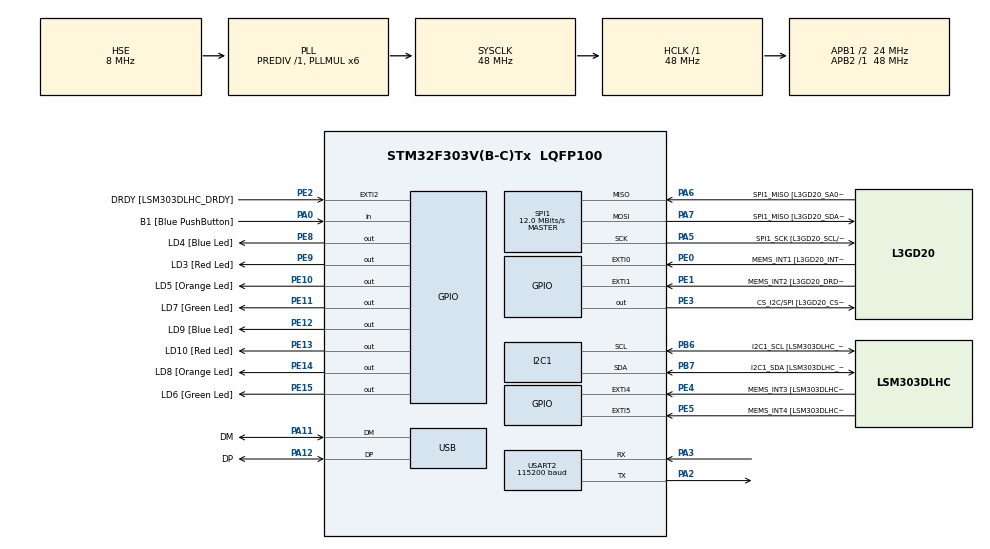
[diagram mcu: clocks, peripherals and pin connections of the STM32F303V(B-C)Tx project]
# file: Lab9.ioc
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I2C1.Timing=0x00201D2B
I2C1.Timing-I2C=0x2000090E
Mcu.Family=STM32F3
Mcu.Name=STM32F303V(B-C)Tx
Mcu.Package=LQFP100
NVIC.PriorityGroup=NVIC_PRIORITYGROUP_0
PA0.GPIO_Label=B1 [Blue PushButton]
PA0.Signal=GPIO_Input
PA11.GPIO_Label=DM
PA11.Mode=Device
PA11.Signal=USB_DM
PA12.GPIO_Label=DP
PA12.Mode=Device
PA12.Signal=USB_DP
PA13.GPIO_Label=SWDIO
PA13.Mode=Serial_Wire
PA13.Signal=SYS_JTMS-SWDIO
PA14.GPIO_Label=SWCLK
PA14.Mode=Serial_Wire
PA14.Signal=SYS_JTCK-SWCLK
PA2.Mode=Asynchronous
PA2.Signal=USART2_TX
PA3.Mode=Asynchronous
PA3.Signal=USART2_RX
PA5.GPIO_Label=SPI1_SCK [L3GD20_SCL/SPC]
PA5.Mode=Full_Duplex_Master
PA5.Signal=SPI1_SCK
PA6.GPIO_Label=SPI1_MISO [L3GD20_SA0/SDO]
PA6.Mode=Full_Duplex_Master
PA6.Signal=SPI1_MISO
PA7.GPIO_Label=SPI1_MISO [L3GD20_SDA/SDI/SDO]
PA7.Mode=Full_Duplex_Master
PA7.Signal=SPI1_MOSI
PB3.GPIO_Label=SWO
PB3.Signal=SYS_JTDO-TRACESWO
PB6.GPIO_Label=I2C1_SCL [LSM303DLHC_SCL]
PB6.GPIO_Pu=GPIO_PULLUP
PB6.Mode=I2C
PB6.Signal=I2C1_SCL
PB7.GPIO_Label=I2C1_SDA [LSM303DLHC_SDA]
PB7.GPIO_Pu=GPIO_PULLUP
PB7.Mode=I2C
PB7.Signal=I2C1_SDA
PC14-OSC32_IN.GPIO_Label=OSC32_IN
PC14-OSC32_IN.Signal=RCC_OSC32_IN
PC15-OSC32_OUT.GPIO_Label=OSC32_OUT
PC15-OSC32_OUT.Signal=RCC_OSC32_OUT
PE0.GPIO_Label=MEMS_INT1 [L3GD20_INT1]
PE0.GPIO_ModeDefaultEXTI=GPIO_MODE_EVT_RISING
PE0.Signal=GPXTI0
PE1.GPIO_Label=MEMS_INT2 [L3GD20_DRDY/INT2]
PE1.GPIO_ModeDefaultEXTI=GPIO_MODE_EVT_RISING
PE1.Signal=GPXTI1
PE10.GPIO_Label=LD5 [Orange Led]
PE10.Signal=GPIO_Output
PE11.GPIO_Label=LD7 [Green Led]
PE11.Signal=GPIO_Output
PE12.GPIO_Label=LD9 [Blue Led]
PE12.Signal=GPIO_Output
PE13.GPIO_Label=LD10 [Red Led]
PE13.Signal=GPIO_Output
PE14.GPIO_Label=LD8 [Orange Led]
PE14.Signal=GPIO_Output
PE15.GPIO_Label=LD6 [Green Led]
PE15.Signal=GPIO_Output
PE2.GPIO_Label=DRDY [LSM303DLHC_DRDY]
PE2.GPIO_ModeDefaultEXTI=GPIO_MODE_EVT_RISING
PE2.Signal=GPXTI2
PE3.GPIO_Label=CS_I2C/SPI [L3GD20_CS_I2C/SPI]
PE3.Signal=GPIO_Output
PE4.GPIO_Label=MEMS_INT3 [LSM303DLHC_INT1]
PE4.GPIO_ModeDefaultEXTI=GPIO_MODE_EVT_RISING
PE4.Signal=GPXTI4
PE5.GPIO_Label=MEMS_INT4 [LSM303DLHC_INT2]
PE5.GPIO_ModeDefaultEXTI=GPIO_MODE_EVT_RISING
PE5.Signal=GPXTI5
PE8.GPIO_Label=LD4 [Blue Led]
PE8.Signal=GPIO_Output
PE9.GPIO_Label=LD3 [Red Led]
PE9.Signal=GPIO_Output
PF0-OSC_IN.GPIO_Label=OSC_IN
PF0-OSC_IN.Mode=HSE-External-Clock-Source
PF0-OSC_IN.Signal=RCC_OSC_IN
PF1-OSC_OUT.GPIO_Label=OSC_OUT
PF1-OSC_OUT.Signal=RCC_OSC_OUT
ProjectManager.HeapSize=0x200
ProjectManager.StackSize=0x400
ProjectManager.TargetToolchain=CMake
RCC.AHBFreq_Value=48000000
RCC.APB1CLKDivider=RCC_HCLK_DIV2
RCC.APB1Freq_Value=24000000
RCC.APB1TimFreq_Value=48000000
RCC.APB2Freq_Value=48000000
RCC.APB2TimFreq_Value=48000000
RCC.CortexFreq_Value=48000000
RCC.HCLKFreq_Value=48000000
RCC.HSE_VALUE=8000000
RCC.HSI_VALUE=8000000
RCC.LSE_VALUE=32768
RCC.PLLMUL=RCC_PLL_MUL6
RCC.SYSCLKFreq_VALUE=48000000
RCC.SYSCLKSourceVirtual=RCC_SYSCLKSOURCE_PLLCLK
RCC.USBFreq_Value=48000000
SPI1.BaudRatePrescaler=SPI_BAUDRATEPRESCALER_4
SPI1.BaudRatePrescaler-Full_Duplex_Master=SPI_BAUDRATEPRESCALER_2
SPI1.CalculateBaudRate=12.0 MBits/s
SPI1.CalculateBaudRate-Full_Duplex_Master=24.0 MBits/s
SPI1.Direction=SPI_DIRECTION_2LINES
SPI1.Mode=SPI_MODE_MASTER
SPI1.Mode-Full_Duplex_Master=SPI_MODE_MASTER
SPI1.VirtualType=VM_MASTER
USART2.BaudRate=115200
USART2.VirtualMode-Asynchronous=VM_ASYNC
board=STM32F3DISCOVERY

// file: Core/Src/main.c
/* USER CODE BEGIN Header */
/**
  ******************************************************************************
  * @file           : main.c
  * @brief          : Main program body
  ******************************************************************************
  * @attention
  *
  * Copyright (c) 2026 STMicroelectronics.
  * All rights reserved.
  *
  * This software is licensed under terms that can be found in the LICENSE file
  * in the root directory of this software component.
  * If no LICENSE file comes with this software, it is provided AS-IS.
  *
  ******************************************************************************
  */
/* USER CODE END Header */
#include "main.h"
#include <string.h>
#include <stdio.h>
#include <stdarg.h>
#include <math.h>

I2C_HandleTypeDef hi2c1;

SPI_HandleTypeDef hspi1;

UART_HandleTypeDef huart2;

PCD_HandleTypeDef hpcd_USB_FS;

/* USER CODE BEGIN PV */
//TASK1--------------------------------------------------------------------------------------------
// #define LSM_READ_ADDR      0x33   // 8-bit read address
// #define WHO_AM_I_REG       0x0F   // WHO_AM_I register
// #define EXPECTED_ID        0x33   // Expected response

//TASK2------------------------------------------------------------------------------------------

/* --- SPI Gyroscope (L3GD20) --- */
#define GYRO_READ_BIT     0x80
#define CTRL_REG1         0x20
#define CTRL_REG1_VAL     0b00001111
#define CTRL_REG4         0x23
#define CTRL_REG4_VAL     0x00          // 245 dps, most sensitive
#define GYRO_SENS         0.00875f      // °/s per LSB at 245dps
#define OUT_X_L           0x28
#define OUT_X_H           0x29
#define OUT_Y_L           0x2A
#define OUT_Y_H           0x2B
#define OUT_Z_L           0x2C
#define OUT_Z_H           0x2D

#define CS_LOW()   HAL_GPIO_WritePin(GPIOE, GPIO_PIN_3, GPIO_PIN_RESET)
#define CS_HIGH()  HAL_GPIO_WritePin(GPIOE, GPIO_PIN_3, GPIO_PIN_SET)

/* --- I2C Accelerometer (LSM303AGR) --- */
#define LSM_WRITE_ADDR    0x32
#define LSM_READ_ADDR     0x33
#define CTRL_REG1_A       0x20
#define CTRL_REG4_A       0x23
#define OUT_X_L_A         0x28
#define OUT_X_H_A         0x29
#define OUT_Y_L_A         0x2A
#define OUT_Y_H_A         0x2B
#define OUT_Z_L_A         0x2C
#define OUT_Z_H_A         0x2D
#define ACCEL_SCALE       3.9f
#define RAD_TO_DEG        57.2958f

/* --- Drift Analysis --- */
#define DRIFT_SAMPLES     100           // samples to measure drift over

typedef struct {
    // Raw gyro
    int16_t gx_raw, gy_raw, gz_raw;
    // Gyro in dps
    float   gx_dps, gy_dps, gz_dps;
    // Gyro offsets
    int16_t gyro_offset_x, gyro_offset_y, gyro_offset_z;

    // Raw accel
    int16_t ax_raw, ay_raw, az_raw;
    // Accel in G
    float   ax_g, ay_g, az_g;
    // Accel offsets
    float   acc_offset_x, acc_offset_y, acc_offset_z;

    // Angles
    float pitch, roll;

    // Drift metrics
    float gyro_drift_pct;
    float accel_drift_pct;
} SensorData;

SensorData sensor;

/* USER CODE END PV */

void SystemClock_Config(void);
static void MX_GPIO_Init(void);
static void MX_I2C1_Init(void);
static void MX_SPI1_Init(void);
static void MX_USART2_UART_Init(void);
static void MX_USB_PCD_Init(void);

/* USER CODE BEGIN 0 */
//TASK1----------------------------------------------------------------------------------
// void myPrintf(const char *fmt, ...)
// {
//     char buffer[256];
//     va_list args;
//     va_start(args, fmt);
//     vsnprintf(buffer, sizeof(buffer), fmt, args);
//     va_end(args);
//     HAL_UART_Transmit(&huart2, (uint8_t*)buffer, strlen(buffer), HAL_MAX_DELAY);
// }

//TASK2-----------------------------------------------------------------------------------

void myPrintf(const char *fmt, ...)
{
    char buffer[256];
    va_list args;
    va_start(args, fmt);
    vsnprintf(buffer, sizeof(buffer), fmt, args);
    va_end(args);
    HAL_UART_Transmit(&huart2, (uint8_t*)buffer, strlen(buffer), HAL_MAX_DELAY);
}

uint8_t spi_read(uint8_t reg)
{
    uint8_t tx[2] = { reg | 0x80, 0x00 };
    uint8_t rx[2] = { 0, 0 };
    CS_LOW();
    HAL_SPI_TransmitReceive(&hspi1, tx, rx, 2, HAL_MAX_DELAY);
    CS_HIGH();
    return rx[1];
}

void spi_write(uint8_t reg, uint8_t value)
{
    uint8_t data[2] = { reg & 0x7F, value };
    CS_LOW();
    HAL_SPI_Transmit(&hspi1, data, 2, HAL_MAX_DELAY);
    CS_HIGH();
}

void Gyro_Init(void)
{
    uint8_t tx[2];

    // Power on, enable X/Y/Z
    tx[0] = CTRL_REG1; tx[1] = CTRL_REG1_VAL;
    CS_LOW();
    HAL_SPI_Transmit(&hspi1, tx, 2, HAL_MAX_DELAY);
    CS_HIGH();

    // Set full scale range
    tx[0] = CTRL_REG4; tx[1] = CTRL_REG4_VAL;
    CS_LOW();
    HAL_SPI_Transmit(&hspi1, tx, 2, HAL_MAX_DELAY);
    CS_HIGH();
}

void Gyro_Calibrate(void)
{
    int32_t xs = 0, ys = 0, zs = 0;
    const int samples = 30;

    myPrintf("Gyro calibrating... keep still\r\n");

    for (int i = 0; i < samples; i++)
    {
        int16_t x = (int16_t)(spi_read(OUT_X_H) << 8 | spi_read(OUT_X_L));
        int16_t y = (int16_t)(spi_read(OUT_Y_H) << 8 | spi_read(OUT_Y_L));
        int16_t z = (int16_t)(spi_read(OUT_Z_H) << 8 | spi_read(OUT_Z_L));
        xs += x; ys += y; zs += z;
        HAL_Delay(5);
    }

    sensor.gyro_offset_x = xs / samples;
    sensor.gyro_offset_y = ys / samples;
    sensor.gyro_offset_z = zs / samples;

    myPrintf("Gyro offsets: %d, %d, %d\r\n",
             sensor.gyro_offset_x,
             sensor.gyro_offset_y,
             sensor.gyro_offset_z);
}

void Gyro_Read(void)
{
    uint8_t buf[6];
    uint8_t reg = OUT_X_L | 0x80 | 0x40; // read + auto-increment

    CS_LOW();
    HAL_SPI_Transmit(&hspi1, &reg, 1, HAL_MAX_DELAY);
    HAL_SPI_Receive(&hspi1, buf, 6, HAL_MAX_DELAY);
    CS_HIGH();

    sensor.gx_raw = (int16_t)((buf[1] << 8) | buf[0]);
    sensor.gy_raw = (int16_t)((buf[3] << 8) | buf[2]);
    sensor.gz_raw = (int16_t)((buf[5] << 8) | buf[4]);

    sensor.gx_dps = (sensor.gx_raw - sensor.gyro_offset_x) * GYRO_SENS;
    sensor.gy_dps = (sensor.gy_raw - sensor.gyro_offset_y) * GYRO_SENS;
    sensor.gz_dps = (sensor.gz_raw - sensor.gyro_offset_z) * GYRO_SENS;
}

/* ============================================================
   ACCELEROMETER FUNCTIONS
   ============================================================ */
static int16_t Accel_ReadAxis(uint8_t reg_l, uint8_t reg_h)
{
    uint8_t lo, hi;
    HAL_I2C_Mem_Read(&hi2c1, LSM_READ_ADDR, reg_l,
                     I2C_MEMADD_SIZE_8BIT, &lo, 1, HAL_MAX_DELAY);
    HAL_I2C_Mem_Read(&hi2c1, LSM_READ_ADDR, reg_h,
                     I2C_MEMADD_SIZE_8BIT, &hi, 1, HAL_MAX_DELAY);
    return (int16_t)((hi << 8) | lo);  // as per lab sheet, no shift
}

void Accel_Init(void)
{
    uint8_t val = 0x67;  // ODR=100Hz, normal mode, X/Y/Z enabled
    HAL_I2C_Mem_Write(&hi2c1, LSM_WRITE_ADDR, CTRL_REG1_A,
                      I2C_MEMADD_SIZE_8BIT, &val, 1, HAL_MAX_DELAY);
    val = 0x00;          // normal mode, ±2g
    HAL_I2C_Mem_Write(&hi2c1, LSM_WRITE_ADDR, CTRL_REG4_A,
                      I2C_MEMADD_SIZE_8BIT, &val, 1, HAL_MAX_DELAY);
}

void Accel_Calibrate(void)
{
    float sx = 0, sy = 0, sz = 0;
    const int samples = 20;

    myPrintf("Accel calibrating... keep still\r\n");

    for (int i = 0; i < samples; i++)
    {
        sx += Accel_ReadAxis(OUT_X_L_A, OUT_X_H_A) * ACCEL_SCALE;
        sy += Accel_ReadAxis(OUT_Y_L_A, OUT_Y_H_A) * ACCEL_SCALE;
        sz += Accel_ReadAxis(OUT_Z_L_A, OUT_Z_H_A) * ACCEL_SCALE;
        HAL_Delay(5);
    }

    sensor.acc_offset_x = sx / samples;
    sensor.acc_offset_y = sy / samples;
    sensor.acc_offset_z = (sz / samples) - 1000.0f; // remove 1G gravity

    myPrintf("Accel offsets: %.2f, %.2f, %.2f\r\n",
             sensor.acc_offset_x,
             sensor.acc_offset_y,
             sensor.acc_offset_z);
}

void Accel_Read(void)
{
    sensor.ax_g = (Accel_ReadAxis(OUT_X_L_A, OUT_X_H_A) * ACCEL_SCALE
                  - sensor.acc_offset_x) / 1000.0f;
    sensor.ay_g = (Accel_ReadAxis(OUT_Y_L_A, OUT_Y_H_A) * ACCEL_SCALE
                  - sensor.acc_offset_y) / 1000.0f;
    sensor.az_g = (Accel_ReadAxis(OUT_Z_L_A, OUT_Z_H_A) * ACCEL_SCALE
                  - sensor.acc_offset_z) / 1000.0f;

    sensor.pitch = atan2f(sensor.ax_g, sensor.az_g) * RAD_TO_DEG;
    sensor.roll  = atan2f(sensor.ay_g, sensor.az_g) * RAD_TO_DEG;
}

void Sensor_AnalyseDrift(void)
{
    float gyro_min = 999999.0f, gyro_max = -999999.0f;
    float accel_min = 999999.0f, accel_max = -999999.0f;

    myPrintf("\r\n--- Drift Analysis (%d samples, board still) ---\r\n",
             DRIFT_SAMPLES);

    for (int i = 0; i < DRIFT_SAMPLES; i++)
    {
        Gyro_Read();
        Accel_Read();

        // Track gyroX range (should be ~0 when still)
        if (sensor.gx_dps < gyro_min) gyro_min = sensor.gx_dps;
        if (sensor.gx_dps > gyro_max) gyro_max = sensor.gx_dps;

        // Track pitch range (should be ~0 when still)
        if (sensor.pitch < accel_min) accel_min = sensor.pitch;
        if (sensor.pitch > accel_max) accel_max = sensor.pitch;

        HAL_Delay(10);
    }

    // Drift = peak-to-peak variation
    float gyro_drift  = gyro_max  - gyro_min;
    float accel_drift = accel_max - accel_min;

    // Percentage drift relative to full scale
    // Gyro full scale = 245 dps, Accel angle full scale = 180 deg
    sensor.gyro_drift_pct  = (gyro_drift  / 245.0f)  * 100.0f;
    sensor.accel_drift_pct = (accel_drift / 180.0f) * 100.0f;

    myPrintf("Gyro  drift: %.3f dps  (%.3f%% of 245dps range)\r\n",
             gyro_drift, sensor.gyro_drift_pct);
    myPrintf("Accel drift: %.3f deg  (%.3f%% of 180deg range)\r\n",
             accel_drift, sensor.accel_drift_pct);

    myPrintf("\r\nConclusion: ");
    if (sensor.accel_drift_pct < sensor.gyro_drift_pct)
    {
        myPrintf("Accelerometer is more stable for STATIC angle.\r\n");
        myPrintf("Preferred for slow/static tilt estimation.\r\n");
    }
    else
    {
        myPrintf("Gyroscope is more stable for DYNAMIC angle.\r\n");
        myPrintf("Preferred for fast/dynamic rotation detection.\r\n");
    }
    myPrintf("--- End Drift Analysis ---\r\n\r\n");
}

void Sensor_Print(void)
{
    myPrintf("aX:%.2f,aY:%.2f,aZ:%.2f,gX:%.2f,gY:%.2f,gZ:%.2f,pitch:%.2f\r\n",
             sensor.ax_g,
             sensor.ay_g,
             sensor.az_g,
             sensor.gx_dps,
             sensor.gy_dps,
             sensor.gz_dps,
             sensor.pitch);
}
void Sensor_Update(void)
{
    Gyro_Read();
    Accel_Read();
    Sensor_Print();
}

/* USER CODE END 0 */

int main(void)
{

  /* MCU Configuration--------------------------------------------------------*/

  /* Reset of all peripherals, Initializes the Flash interface and the Systick. */
  HAL_Init();

  /* Configure the system clock */
  SystemClock_Config();

  /* Initialize all configured peripherals */
  MX_GPIO_Init();
  MX_I2C1_Init();
  MX_SPI1_Init();
  MX_USART2_UART_Init();
  MX_USB_PCD_Init();
  /* USER CODE BEGIN 2 */
  //TASK 1----------------------------------------------------------------------------
  //  HAL_Delay(100);  // sensor boot time

  //   uint8_t who_am_i = 0;
  //   HAL_StatusTypeDef ret;

  //   // Read WHO_AM_I register (0x0F) from LSM303AGR
  //   ret = HAL_I2C_Mem_Read(&hi2c1, LSM_READ_ADDR, WHO_AM_I_REG,
  //                           I2C_MEMADD_SIZE_8BIT, &who_am_i, 1, HAL_MAX_DELAY);

  //   if (ret != HAL_OK)
  //   {
  //       myPrintf("I2C ERROR: %d\r\n", ret);
  //   }
  //   else
  //   {
  //       myPrintf("WHO_AM_I = 0x%02X\r\n", who_am_i);

  //       if (who_am_i == EXPECTED_ID)
  //           myPrintf("LSM303AGR detected successfully!\r\n");
  //       else
  //           myPrintf("Unexpected ID! Check wiring/address.\r\n");
  //   }
  //TASK 2-------------------------------------------------------------------------
    CS_HIGH();
    HAL_Delay(100);

    void myPrintf(const char *fmt, ...);

/* Gyro */
void Gyro_Init(void);
void Gyro_Calibrate(void);
void Gyro_Read(void);

/* Accel */
void Accel_Init(void);
void Accel_Calibrate(void);
void Accel_Read(void);

/* Sensor */
void Sensor_AnalyseDrift(void);
void Sensor_Print(void);
void Sensor_Update(void);

  /* USER CODE END 2 */

  /* Infinite loop */
  /* USER CODE BEGIN WHILE */
  while (1)
  {

    Sensor_Update();
    HAL_Delay(100);

    /* USER CODE END WHILE */

  }
}

void SystemClock_Config(void)
{
  RCC_OscInitTypeDef RCC_OscInitStruct = {0};
  RCC_ClkInitTypeDef RCC_ClkInitStruct = {0};
  RCC_PeriphCLKInitTypeDef PeriphClkInit = {0};

  /** Initializes the RCC Oscillators according to the specified parameters
  * in the RCC_OscInitTypeDef structure.
  */
  RCC_OscInitStruct.OscillatorType = RCC_OSCILLATORTYPE_HSI|RCC_OSCILLATORTYPE_HSE;
  RCC_OscInitStruct.HSEState = RCC_HSE_BYPASS;
  RCC_OscInitStruct.HSEPredivValue = RCC_HSE_PREDIV_DIV1;
  RCC_OscInitStruct.HSIState = RCC_HSI_ON;
  RCC_OscInitStruct.HSICalibrationValue = RCC_HSICALIBRATION_DEFAULT;
  RCC_OscInitStruct.PLL.PLLState = RCC_PLL_ON;
  RCC_OscInitStruct.PLL.PLLSource = RCC_PLLSOURCE_HSE;
  RCC_OscInitStruct.PLL.PLLMUL = RCC_PLL_MUL6;
  if (HAL_RCC_OscConfig(&RCC_OscInitStruct) != HAL_OK)
  {
    Error_Handler();
  }

  /** Initializes the CPU, AHB and APB buses clocks
  */
  RCC_ClkInitStruct.ClockType = RCC_CLOCKTYPE_HCLK|RCC_CLOCKTYPE_SYSCLK
                              |RCC_CLOCKTYPE_PCLK1|RCC_CLOCKTYPE_PCLK2;
  RCC_ClkInitStruct.SYSCLKSource = RCC_SYSCLKSOURCE_PLLCLK;
  RCC_ClkInitStruct.AHBCLKDivider = RCC_SYSCLK_DIV1;
  RCC_ClkInitStruct.APB1CLKDivider = RCC_HCLK_DIV2;
  RCC_ClkInitStruct.APB2CLKDivider = RCC_HCLK_DIV1;

  if (HAL_RCC_ClockConfig(&RCC_ClkInitStruct, FLASH_LATENCY_1) != HAL_OK)
  {
    Error_Handler();
  }
  PeriphClkInit.PeriphClockSelection = RCC_PERIPHCLK_USB|RCC_PERIPHCLK_USART2
                              |RCC_PERIPHCLK_I2C1;
  PeriphClkInit.Usart2ClockSelection = RCC_USART2CLKSOURCE_PCLK1;
  PeriphClkInit.I2c1ClockSelection = RCC_I2C1CLKSOURCE_HSI;
  PeriphClkInit.USBClockSelection = RCC_USBCLKSOURCE_PLL;
  if (HAL_RCCEx_PeriphCLKConfig(&PeriphClkInit) != HAL_OK)
  {
    Error_Handler();
  }
}

static void MX_I2C1_Init(void)
{

  hi2c1.Instance = I2C1;
  hi2c1.Init.Timing = 0x00201D2B;
  hi2c1.Init.OwnAddress1 = 0;
  hi2c1.Init.AddressingMode = I2C_ADDRESSINGMODE_7BIT;
  hi2c1.Init.DualAddressMode = I2C_DUALADDRESS_DISABLE;
  hi2c1.Init.OwnAddress2 = 0;
  hi2c1.Init.OwnAddress2Masks = I2C_OA2_NOMASK;
  hi2c1.Init.GeneralCallMode = I2C_GENERALCALL_DISABLE;
  hi2c1.Init.NoStretchMode = I2C_NOSTRETCH_DISABLE;
  if (HAL_I2C_Init(&hi2c1) != HAL_OK)
  {
    Error_Handler();
  }

  /** Configure Analogue filter
  */
  if (HAL_I2CEx_ConfigAnalogFilter(&hi2c1, I2C_ANALOGFILTER_ENABLE) != HAL_OK)
  {
    Error_Handler();
  }

  /** Configure Digital filter
  */
  if (HAL_I2CEx_ConfigDigitalFilter(&hi2c1, 0) != HAL_OK)
  {
    Error_Handler();
  }

}

static void MX_SPI1_Init(void)
{

  /* SPI1 parameter configuration*/
  hspi1.Instance = SPI1;
  hspi1.Init.Mode = SPI_MODE_MASTER;
  hspi1.Init.Direction = SPI_DIRECTION_2LINES;
  hspi1.Init.DataSize = SPI_DATASIZE_8BIT; //new
  hspi1.Init.CLKPolarity = SPI_POLARITY_LOW;
  hspi1.Init.CLKPhase = SPI_PHASE_1EDGE;
  hspi1.Init.NSS = SPI_NSS_SOFT;
  hspi1.Init.BaudRatePrescaler = SPI_BAUDRATEPRESCALER_4;
  hspi1.Init.FirstBit = SPI_FIRSTBIT_MSB;
  hspi1.Init.TIMode = SPI_TIMODE_DISABLE;
  hspi1.Init.CRCCalculation = SPI_CRCCALCULATION_DISABLE;
  hspi1.Init.CRCPolynomial = 7;
  hspi1.Init.CRCLength = SPI_CRC_LENGTH_DATASIZE;
  hspi1.Init.NSSPMode = SPI_NSS_PULSE_ENABLE;
  if (HAL_SPI_Init(&hspi1) != HAL_OK)
  {
    Error_Handler();
  }

}

static void MX_USART2_UART_Init(void)
{

  huart2.Instance = USART2;
  huart2.Init.BaudRate = 115200;
  huart2.Init.WordLength = UART_WORDLENGTH_8B;
  huart2.Init.StopBits = UART_STOPBITS_1;
  huart2.Init.Parity = UART_PARITY_NONE;
  huart2.Init.Mode = UART_MODE_TX_RX;
  huart2.Init.HwFlowCtl = UART_HWCONTROL_NONE;
  huart2.Init.OverSampling = UART_OVERSAMPLING_16;
  huart2.Init.OneBitSampling = UART_ONE_BIT_SAMPLE_DISABLE;
  huart2.AdvancedInit.AdvFeatureInit = UART_ADVFEATURE_NO_INIT;
  if (HAL_UART_Init(&huart2) != HAL_OK)
  {
    Error_Handler();
  }

}

static void MX_USB_PCD_Init(void)
{

  hpcd_USB_FS.Instance = USB;
  hpcd_USB_FS.Init.dev_endpoints = 8;
  hpcd_USB_FS.Init.speed = PCD_SPEED_FULL;
  hpcd_USB_FS.Init.phy_itface = PCD_PHY_EMBEDDED;
  hpcd_USB_FS.Init.low_power_enable = DISABLE;
  hpcd_USB_FS.Init.battery_charging_enable = DISABLE;
  if (HAL_PCD_Init(&hpcd_USB_FS) != HAL_OK)
  {
    Error_Handler();
  }

}

static void MX_GPIO_Init(void)
{
  GPIO_InitTypeDef GPIO_InitStruct = {0};

  /* GPIO Ports Clock Enable */
  __HAL_RCC_GPIOE_CLK_ENABLE();
  __HAL_RCC_GPIOC_CLK_ENABLE();
  __HAL_RCC_GPIOF_CLK_ENABLE();
  __HAL_RCC_GPIOA_CLK_ENABLE();
  __HAL_RCC_GPIOB_CLK_ENABLE();

  /*Configure GPIO pin Output Level */
  HAL_GPIO_WritePin(GPIOE, CS_I2C_SPI_Pin|LD4_Pin|LD3_Pin|LD5_Pin
                          |LD7_Pin|LD9_Pin|LD10_Pin|LD8_Pin
                          |LD6_Pin, GPIO_PIN_RESET);

  /*Configure GPIO pins : DRDY_Pin MEMS_INT3_Pin MEMS_INT4_Pin MEMS_INT1_Pin
                           MEMS_INT2_Pin */
  GPIO_InitStruct.Pin = DRDY_Pin|MEMS_INT3_Pin|MEMS_INT4_Pin|MEMS_INT1_Pin
                          |MEMS_INT2_Pin;
  GPIO_InitStruct.Mode = GPIO_MODE_EVT_RISING;
  GPIO_InitStruct.Pull = GPIO_NOPULL;
  HAL_GPIO_Init(GPIOE, &GPIO_InitStruct);

  /*Configure GPIO pins : CS_I2C_SPI_Pin LD4_Pin LD3_Pin LD5_Pin
                           LD7_Pin LD9_Pin LD10_Pin LD8_Pin
                           LD6_Pin */
  GPIO_InitStruct.Pin = CS_I2C_SPI_Pin|LD4_Pin|LD3_Pin|LD5_Pin
                          |LD7_Pin|LD9_Pin|LD10_Pin|LD8_Pin
                          |LD6_Pin;
  GPIO_InitStruct.Mode = GPIO_MODE_OUTPUT_PP;
  GPIO_InitStruct.Pull = GPIO_NOPULL;
  GPIO_InitStruct.Speed = GPIO_SPEED_FREQ_LOW;
  HAL_GPIO_Init(GPIOE, &GPIO_InitStruct);

  /*Configure GPIO pin : B1_Pin */
  GPIO_InitStruct.Pin = B1_Pin;
  GPIO_InitStruct.Mode = GPIO_MODE_INPUT;
  GPIO_InitStruct.Pull = GPIO_NOPULL;
  HAL_GPIO_Init(B1_GPIO_Port, &GPIO_InitStruct);

}

void Error_Handler(void)
{
  __disable_irq();
  while (1)
  {
  }
}
